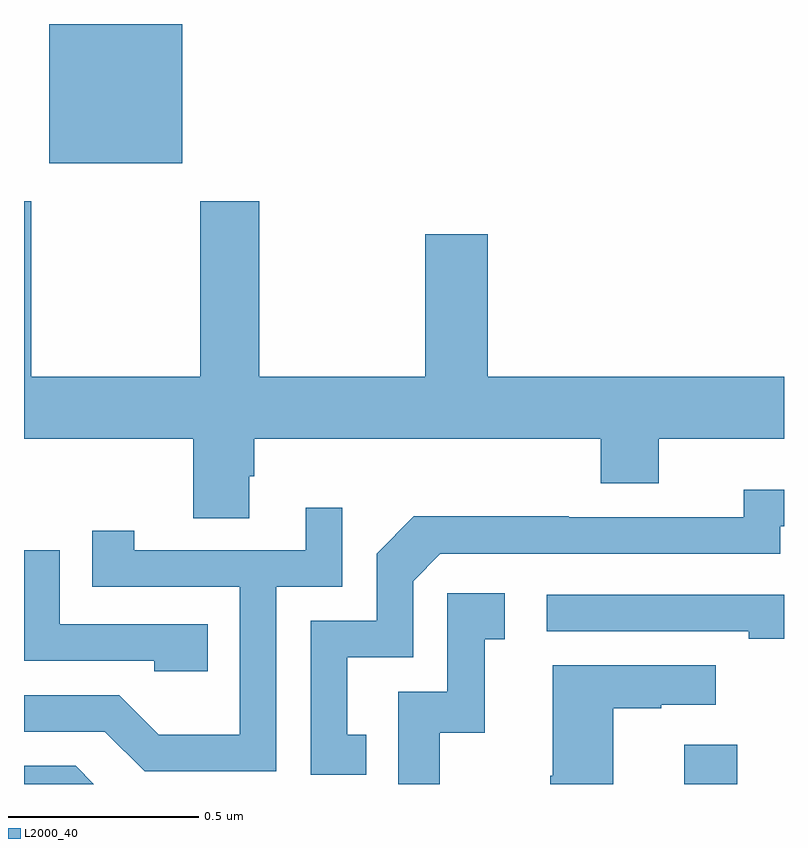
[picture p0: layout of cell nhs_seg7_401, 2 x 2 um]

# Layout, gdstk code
import gdstk
lib = gdstk.Library(unit=1e-6, precision=1e-09)
def R(c, l, rs):  # rectangles x0, y0, x1, y1
    for r in rs: c.add(gdstk.rectangle(r[:2], r[2:], *l))
def P(c, l, *ps):  # polygons
    for p in ps: c.add(gdstk.Polygon(p, *l))
L2000_40 = (2000, 40)

nhs_seg7_401 = lib.new_cell('nhs_seg7_401')
R(nhs_seg7_401, L2000_40, [(117.737,1041,117.877,1041.103), (116.066,1042.634,116.416,1043)])
P(nhs_seg7_401, L2000_40, [(116.593,1041.81),(116.606,1041.81),(116.606,1041.908),(117.518,1041.908),(117.518,1041.791),(117.67,1041.791),(117.67,1041.908),(118,1041.908),(118,1042.072),(117.22,1042.072),(117.22,1042.447),(117.056,1042.447),(117.056,1042.072),(116.619,1042.072),(116.619,1042.534),(116.464,1042.534),(116.464,1042.072),(116.019,1042.072),(116.019,1042.534),(116,1042.534),(116,1041.908),(116.446,1041.908),(116.446,1041.7),(116.593,1041.7)],
  [(116.9,1041.129),(116.851,1041.129),(116.851,1041.333),(117.024,1041.333),(117.024,1041.534),(117.096,1041.606),(117.99,1041.606),(117.99,1041.678),(118,1041.678),(118,1041.775),(117.894,1041.775),(117.894,1041.702),(117.434,1041.702),(117.434,1041.704),(117.026,1041.704),(116.928,1041.606),(116.928,1041.429),(116.754,1041.429),(116.754,1041.024),(116.9,1041.024)],
  [(116.664,1041.519),(116.838,1041.519),(116.838,1041.727),(116.741,1041.727),(116.741,1041.615),(116.29,1041.615),(116.29,1041.667),(116.179,1041.667),(116.179,1041.519),(116.568,1041.519),(116.568,1041.13),(116.354,1041.13),(116.25,1041.234),(116,1041.234),(116,1041.138),(116.213,1041.138),(116.318,1041.033),(116.664,1041.033)],
  [(116.483,1041.42),(116.094,1041.42),(116.094,1041.615),(116,1041.615),(116,1041.324),(116.343,1041.324),(116.343,1041.297),(116.483,1041.297)],
  [(117.094,1041.135),(117.212,1041.135),(117.212,1041.381),(117.265,1041.381),(117.265,1041.502),(117.114,1041.502),(117.114,1041.243),(116.985,1041.243),(116.985,1041),(117.094,1041)],
  [(118,1041.498),(117.375,1041.498),(117.375,1041.402),(117.907,1041.402),(117.907,1041.382),(118,1041.382)],
  [(117.55,1041.199),(117.677,1041.199),(117.677,1041.209),(117.82,1041.209),(117.82,1041.313),(117.392,1041.313),(117.392,1041.022),(117.385,1041.022),(117.385,1041),(117.55,1041)],
  [(116.136,1041.048),(116,1041.048),(116,1041),(116.184,1041)])

lib.write_gds('nhs_seg7_401.gds')
